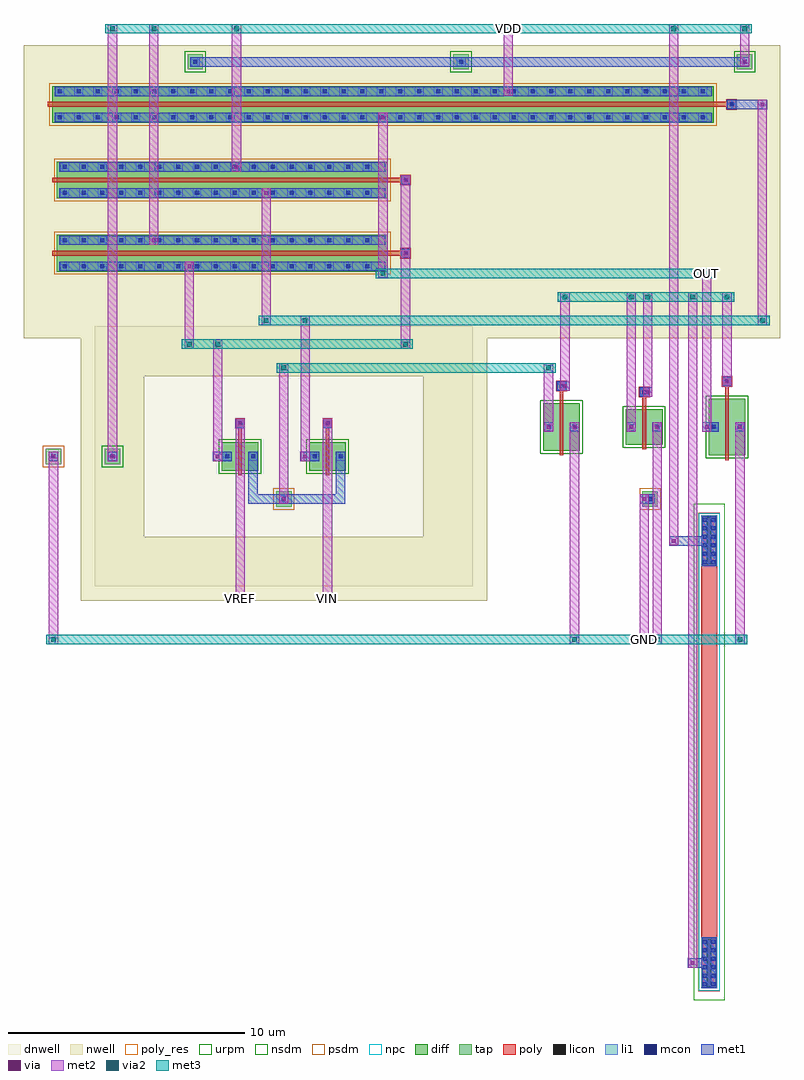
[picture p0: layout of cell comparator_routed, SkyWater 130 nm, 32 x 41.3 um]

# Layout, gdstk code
import gdstk
lib = gdstk.Library(unit=1e-6, precision=1e-09)
def R(c, l, rs):  # rectangles x0, y0, x1, y1
    for r in rs: c.add(gdstk.rectangle(r[:2], r[2:], *l))
def A(c, l, x, y, w, h, nx, ny, dx, dy):  # array of equal rectangles
    R(c, l, [(x+i*dx, y+j*dy, x+i*dx+w, y+j*dy+h) for i in range(nx) for j in range(ny)])
dnwell = (64, 18)
nwell = (64, 20)
diff = (65, 20)
tap = (65, 44)
poly_res = (66, 13)
poly = (66, 20)
licon = (66, 44)
li1 = (67, 20)
mcon = (67, 44)
met1 = (68, 20)
via = (68, 44)
met2 = (69, 20)
via2 = (69, 44)
met3 = (70, 20)
urpm = (79, 20)
nsdm = (93, 44)
psdm = (94, 20)
npc = (95, 20)

comparator_routed = lib.new_cell('comparator_routed')
R(comparator_routed, dnwell, [(0,0,16,11)])
R(comparator_routed, nwell, [(-0.6,-0.6,16.6,2.1), (-0.6,2.1,2.1,8.9), (13.9,2.1,16.6,8.9), (-0.6,8.9,16.6,10.5), (-3,10.5,29,22.9)])
R(comparator_routed, diff, [(5.375,4.9,6.925,6.1), (9.075,4.9,10.625,6.1), (25.975,5.55,27.525,7.95), (18.975,5.75,20.525,7.75), (22.475,6,24.025,7.5), (-1.6,13.325,12.4,14.875), (-1.6,16.425,12.4,17.975), (-1.8,19.625,26.2,21.175)])
R(comparator_routed, tap, [(7.675,3.375,8.325,4.025), (23.175,3.375,23.825,4.025), (-2.075,5.175,-1.425,5.825), (0.425,5.175,1.075,5.825), (3.925,21.875,4.575,22.525), (15.175,21.875,15.825,22.525), (27.175,21.875,27.825,22.525)])
R(comparator_routed, poly_res, [(25.655,-14.93,26.345,0.93)])
R(comparator_routed, poly, [(25.655,-17.01,26.345,3.01), (6.075,4.7,6.225,6.685), (9.775,4.7,9.925,6.685), (26.675,5.35,26.825,8.45), (19.675,5.55,19.825,8.25), (23.175,5.8,23.325,8), (5.945,6.685,6.355,7.115), (9.645,6.685,10.055,7.115), (23.025,8,23.475,8.45), (19.525,8.25,19.975,8.7), (26.525,8.45,26.975,8.9), (12.925,13.875,13.375,14), (-1.8,14,13.375,14.2), (12.925,14.2,13.375,14.325), (12.925,16.975,13.375,17.1), (-1.8,17.1,13.375,17.3), (12.925,17.3,13.375,17.425), (26.725,20.175,27.175,20.3), (-2,20.3,27.175,20.5), (26.725,20.5,27.175,20.625)])
A(comparator_routed, licon, -1.36, 13.465, 0.17, 0.17, 17, 2, 0.8, 1.1)
A(comparator_routed, licon, -1.36, 16.565, 0.17, 0.17, 17, 2, 0.8, 1.1)
A(comparator_routed, licon, -1.56, 19.765, 0.17, 0.17, 35, 2, 0.8, 1.1)
R(comparator_routed, licon, [(25.905,-16.93,26.095,-14.93), (25.905,0.93,26.095,2.93), (7.915,3.615,8.085,3.785), (23.415,3.615,23.585,3.785), (-1.835,5.415,-1.665,5.585), (0.665,5.415,0.835,5.585), (5.515,5.415,5.685,5.585), (6.615,5.415,6.785,5.585), (9.215,5.415,9.385,5.585), (10.315,5.415,10.485,5.585), (19.115,6.665,19.285,6.835), (20.215,6.665,20.385,6.835), (22.615,6.665,22.785,6.835), (23.715,6.665,23.885,6.835), (26.115,6.665,26.285,6.835), (27.215,6.665,27.385,6.835), (6.065,6.815,6.235,6.985), (9.765,6.815,9.935,6.985), (23.165,8.14,23.335,8.31), (19.665,8.39,19.835,8.56), (26.665,8.59,26.835,8.76), (13.065,14.015,13.235,14.185), (13.065,17.115,13.235,17.285), (26.865,20.315,27.035,20.485), (4.165,22.115,4.335,22.285), (15.415,22.115,15.585,22.285), (27.415,22.115,27.585,22.285)])
A(comparator_routed, li1, -1.465, 13.36, 0.38, 0.38, 17, 2, 0.8, 1.1)
A(comparator_routed, li1, -1.465, 16.46, 0.38, 0.38, 17, 2, 0.8, 1.1)
A(comparator_routed, li1, -1.665, 19.66, 0.38, 0.38, 35, 2, 0.8, 1.1)
R(comparator_routed, li1, [(25.655,-17.01,26.345,-14.85), (25.655,0.85,26.345,3.01), (7.81,3.51,8.19,3.89), (23.31,3.51,23.69,3.89), (-1.94,5.31,-1.56,5.69), (0.56,5.31,0.94,5.69), (5.41,5.31,5.79,5.69), (6.51,5.31,6.89,5.69), (9.11,5.31,9.49,5.69), (10.21,5.31,10.59,5.69), (19.01,6.56,19.39,6.94), (20.11,6.56,20.49,6.94), (22.51,6.56,22.89,6.94), (23.61,6.56,23.99,6.94), (26.01,6.56,26.39,6.94), (27.11,6.56,27.49,6.94), (5.96,6.71,6.34,7.09), (9.66,6.71,10.04,7.09), (23.06,8.035,23.44,8.415), (19.56,8.285,19.94,8.665), (26.56,8.485,26.94,8.865), (12.96,13.91,13.34,14.29), (12.96,17.01,13.34,17.39), (26.76,20.21,27.14,20.59), (4.06,22.01,4.44,22.39), (15.31,22.01,15.69,22.39), (27.31,22.01,27.69,22.39)])
A(comparator_routed, mcon, 25.735, -16.915, 0.17, 0.17, 1, 6, 0, 0.36)
A(comparator_routed, mcon, 26.095, -16.915, 0.17, 0.17, 1, 6, 0, 0.36)
A(comparator_routed, mcon, 25.735, 0.94, 0.17, 0.17, 1, 6, 0, 0.36)
A(comparator_routed, mcon, 26.095, 0.94, 0.17, 0.17, 1, 6, 0, 0.36)
A(comparator_routed, mcon, -1.36, 13.465, 0.17, 0.17, 17, 2, 0.8, 1.1)
A(comparator_routed, mcon, -1.36, 16.565, 0.17, 0.17, 17, 2, 0.8, 1.1)
A(comparator_routed, mcon, -1.56, 19.765, 0.17, 0.17, 35, 2, 0.8, 1.1)
R(comparator_routed, mcon, [(7.915,3.615,8.085,3.785), (23.415,3.615,23.585,3.785), (-1.835,5.415,-1.665,5.585), (0.665,5.415,0.835,5.585), (5.515,5.415,5.685,5.585), (6.615,5.415,6.785,5.585), (9.215,5.415,9.385,5.585), (10.315,5.415,10.485,5.585), (19.115,6.665,19.285,6.835), (20.215,6.665,20.385,6.835), (22.615,6.665,22.785,6.835), (23.715,6.665,23.885,6.835), (26.115,6.665,26.285,6.835), (27.215,6.665,27.385,6.835), (6.065,6.815,6.235,6.985), (9.765,6.815,9.935,6.985), (23.165,8.14,23.335,8.31), (19.665,8.39,19.835,8.56), (26.665,8.59,26.835,8.76), (13.065,14.015,13.235,14.185), (13.065,17.115,13.235,17.285), (26.865,20.315,27.035,20.485), (4.165,22.115,4.335,22.285), (15.415,22.115,15.585,22.285), (27.415,22.115,27.585,22.285)])
R(comparator_routed, met1, [(25.705,-16.98,26.295,-16.13), (25.1,-16.13,26.295,-15.73), (25.705,-15.73,26.295,-14.875), (25.705,0.875,26.295,1.73), (24.3,1.73,26.295,2.13), (25.705,2.13,26.295,2.98), (6.5,3.5,10.6,3.9), (23.05,3.5,23.7,3.9), (6.5,3.9,6.9,5.7), (10.2,3.9,10.6,5.7), (-1.95,5.3,-1.55,5.7), (0.55,5.3,0.95,5.7), (5,5.3,5.8,5.7), (8.7,5.3,9.5,5.7), (19,6.55,19.4,6.95), (20.1,6.55,20.5,6.95), (22.5,6.55,22.9,6.95), (23.6,6.55,24,6.95), (25.7,6.55,26.4,6.95), (27.1,6.55,27.5,6.95), (5.95,6.7,6.35,7.1), (9.65,6.7,10.05,7.1), (23.05,8.025,23.6,8.425), (19.55,8.275,20.1,8.675), (26.55,8.475,26.95,8.875), (-1.5,13.35,12.3,13.75), (12.95,13.9,13.35,14.3), (-1.5,14.45,12.3,14.85), (-1.5,16.45,12.3,16.85), (12.95,17,13.35,17.4), (-1.5,17.55,12.3,17.95), (-1.7,19.65,26.1,20.05), (26.75,20.2,28.45,20.6), (-1.7,20.75,26.1,21.15), (4.05,22,27.7,22.4)])
R(comparator_routed, via, [(25.225,-16.005,25.375,-15.855), (24.425,1.855,24.575,2.005), (7.925,3.625,8.075,3.775), (23.175,3.625,23.325,3.775), (-1.825,5.425,-1.675,5.575), (0.675,5.425,0.825,5.575), (5.125,5.425,5.275,5.575), (8.825,5.425,8.975,5.575), (19.125,6.675,19.275,6.825), (20.225,6.675,20.375,6.825), (22.625,6.675,22.775,6.825), (23.725,6.675,23.875,6.825), (25.825,6.675,25.975,6.825), (27.225,6.675,27.375,6.825), (6.075,6.825,6.225,6.975), (9.775,6.825,9.925,6.975), (23.325,8.15,23.475,8.3), (19.825,8.4,19.975,8.55), (26.675,8.6,26.825,8.75), (3.925,13.475,4.075,13.625), (13.075,14.025,13.225,14.175), (2.425,14.575,2.575,14.725), (7.175,16.575,7.325,16.725), (13.075,17.125,13.225,17.275), (5.925,17.675,6.075,17.825), (12.125,19.775,12.275,19.925), (28.175,20.325,28.325,20.475), (17.425,20.875,17.575,21.025), (27.425,22.125,27.575,22.275)])
A(comparator_routed, met2, 20.105, -2.445, 0.39, 9.39, 3, 1, 3.5, 0)
R(comparator_routed, met2, [(25.105,-16.125,25.495,12.445), (-1.945,-2.445,-1.555,5.695), (23.055,-2.445,23.445,3.895), (5.955,-0.695,6.345,7.095), (9.655,-0.695,10.045,7.095), (24.305,1.735,24.695,23.795), (7.805,3.505,8.195,9.445), (0.555,5.305,0.945,23.795), (5.005,5.305,5.395,10.445), (8.705,5.305,9.095,11.445), (19.005,6.555,19.395,9.445), (22.505,6.555,22.895,12.445), (25.705,6.555,26.095,13.445), (23.205,8.03,23.595,12.445), (19.705,8.28,20.095,12.445), (26.555,8.48,26.945,12.445), (3.805,10.055,4.195,13.745), (12.955,10.055,13.345,17.395), (7.055,11.055,7.445,16.845), (28.055,11.055,28.445,20.595), (12.005,13.055,12.395,20.045), (2.305,14.455,2.695,23.795), (5.805,17.555,6.195,23.795), (17.305,20.755,17.695,23.795), (27.305,22.005,27.695,23.795)])
R(comparator_routed, via2, [(-1.85,-2.35,-1.65,-2.15), (20.2,-2.35,20.4,-2.15), (23.15,-2.35,23.35,-2.15), (23.7,-2.35,23.9,-2.15), (27.2,-2.35,27.4,-2.15), (7.9,9.15,8.1,9.35), (19.1,9.15,19.3,9.35), (3.9,10.15,4.1,10.35), (5.1,10.15,5.3,10.35), (13.05,10.15,13.25,10.35), (7.15,11.15,7.35,11.35), (8.8,11.15,9,11.35), (28.15,11.15,28.35,11.35), (19.8,12.15,20,12.35), (22.6,12.15,22.8,12.35), (23.3,12.15,23.5,12.35), (25.2,12.15,25.4,12.35), (26.65,12.15,26.85,12.35), (12.1,13.15,12.3,13.35), (25.8,13.15,26,13.35), (0.65,23.5,0.85,23.7), (2.4,23.5,2.6,23.7), (5.9,23.5,6.1,23.7), (17.4,23.5,17.6,23.7), (24.4,23.5,24.6,23.7), (27.4,23.5,27.6,23.7)])
R(comparator_routed, met3, [(-2.06,-2.45,27.61,-2.05), (7.69,9.05,19.51,9.45), (3.69,10.05,13.46,10.45), (6.94,11.05,28.56,11.45), (19.59,12.05,27.06,12.45), (11.89,13.05,26.21,13.45), (0.44,23.4,27.81,23.8)])
R(comparator_routed, urpm, [(25.35,-17.5,26.65,3.5)])
R(comparator_routed, nsdm, [(5.25,4.775,7.05,6.225), (8.95,4.775,10.75,6.225), (0.3,5.05,1.2,5.95), (25.85,5.425,27.65,8.075), (18.85,5.625,20.65,7.875), (22.35,5.875,24.15,7.625), (3.8,21.75,4.7,22.65), (15.05,21.75,15.95,22.65), (27.05,21.75,27.95,22.65)])
R(comparator_routed, psdm, [(25.545,-17.12,26.455,3.12), (7.55,3.25,8.45,4.15), (23.05,3.25,23.95,4.15), (-2.2,5.05,-1.3,5.95), (-1.725,13.2,12.525,15), (-1.725,16.3,12.525,18.1), (-1.925,19.5,26.325,21.3)])
R(comparator_routed, npc, [(25.56,-17.105,26.44,3.105), (5.965,6.715,6.335,7.085), (9.665,6.715,10.035,7.085), (23.065,8.04,23.435,8.41), (19.565,8.29,19.935,8.66), (26.565,8.49,26.935,8.86), (12.965,13.915,13.335,14.285), (12.965,17.015,13.335,17.385), (26.765,20.215,27.135,20.585)])
comparator_routed.add(gdstk.Label('VDD', (17.5,23.6), layer=70, texttype=5))
comparator_routed.add(gdstk.Label('OUT', (25.9,13.25), layer=70, texttype=5))
comparator_routed.add(gdstk.Label('GND', (23.25,-2.25), layer=70, texttype=5))
comparator_routed.add(gdstk.Label('VREF', (6.15,-0.5), layer=69, texttype=5))
comparator_routed.add(gdstk.Label('VIN', (9.85,-0.5), layer=69, texttype=5))

lib.write_gds('comparator_routed.gds')
